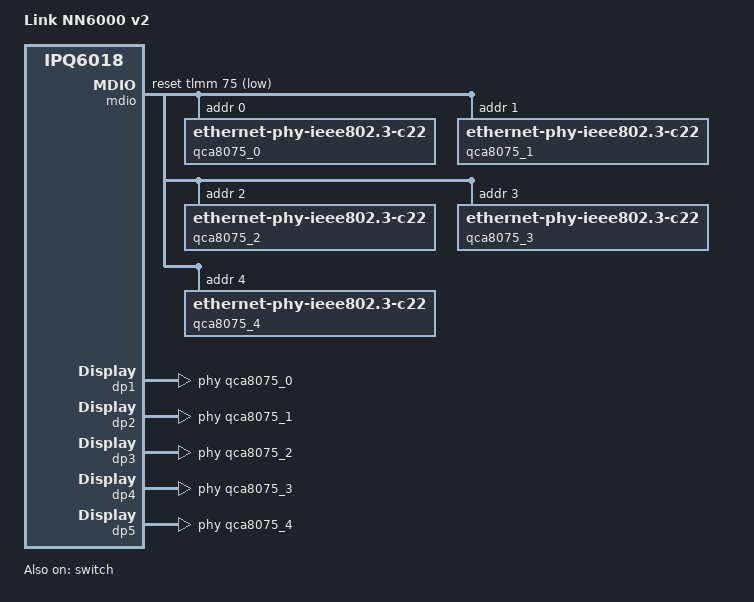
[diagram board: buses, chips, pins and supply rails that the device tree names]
// SPDX-License-Identifier: GPL-2.0-or-later OR MIT

/dts-v1/;

#include "ipq6000-link.dtsi"

/ {
	model = "Link NN6000 v2";
	compatible = "link,nn6000-v2", "qcom,ipq6018";

	aliases {
		ethernet0 = "/soc/dp1";
		ethernet1 = "/soc/dp2";
		ethernet2 = "/soc/dp3";
		ethernet3 = "/soc/dp4";
		ethernet4 = "/soc/dp5";
	};
};

&mdio {
	status = "okay";

	pinctrl-0 = <&mdio_pins>;
	pinctrl-names = "default";
	reset-gpios = <&tlmm 75 GPIO_ACTIVE_LOW>;

	qca8075_0: ethernet-phy@0 {
		compatible = "ethernet-phy-ieee802.3-c22";
		reg = <0>;
	};

	qca8075_1: ethernet-phy@1 {
		compatible = "ethernet-phy-ieee802.3-c22";
		reg = <1>;
	};

	qca8075_2: ethernet-phy@2 {
		compatible = "ethernet-phy-ieee802.3-c22";
		reg = <2>;
	};

	qca8075_3: ethernet-phy@3 {
		compatible = "ethernet-phy-ieee802.3-c22";
		reg = <3>;
	};

	qca8075_4: ethernet-phy@4 {
		compatible = "ethernet-phy-ieee802.3-c22";
		reg = <4>;
	};
};

&switch {
	status = "okay";

	switch_cpu_bmp = <0x1>;  /* cpu port bitmap */
	switch_lan_bmp = <0x3a>; /* lan port bitmap */
	switch_wan_bmp = <0x04>; /* wan port bitmap */
	switch_inner_bmp = <0xc0>; /*inner port bitmap*/
	switch_mac_mode = <0x0>; /* mac mode for uniphy 0*/
	switch_mac_mode1 = <0xff>; /* mac mode for uniphy 1*/
	switch_mac_mode2 = <0xff>; /* mac mode for uniphy 2*/

	qcom,port_phyinfo {
		port@1 {
			port_id = <1>;
			phy_address = <0>;
		};
		port@2 {
			port_id = <2>;
			phy_address = <1>;
		};
		port@3 {
			port_id = <3>;
			phy_address = <2>;
		};
		port@4 {
			port_id = <4>;
			phy_address = <3>;
		};
		port@5 {
			port_id = <5>;
			phy_address = <4>;
		};
	};
};

&dp1 {
	status = "okay";
	phy-handle = <&qca8075_0>;
	label = "lan1";
};

&dp2 {
	status = "okay";
	phy-handle = <&qca8075_1>;
	label = "wan";
};

&dp3 {
	status = "okay";
	phy-handle = <&qca8075_2>;
	label = "lan2";
};

&dp4 {
	status = "okay";
	phy-handle = <&qca8075_3>;
	label = "lan3";
};

&dp5 {
	status = "okay";
	phy-handle = <&qca8075_4>;
	label = "lan4";
};
